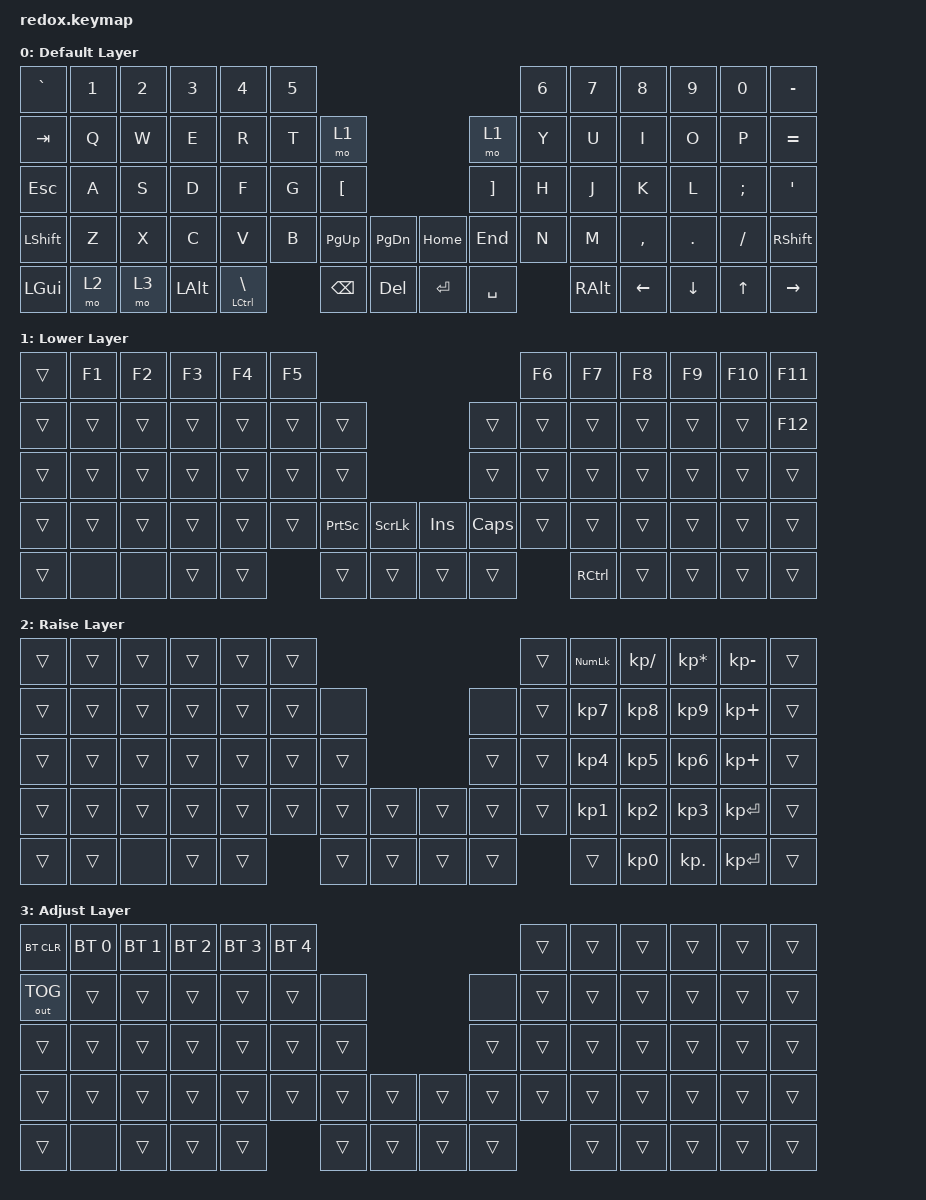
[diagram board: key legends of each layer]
/*
 * Copyright (c) 2021 The ZMK Contributors
 *
 * SPDX-License-Identifier: MIT
 */

#include <behaviors.dtsi>
#include <dt-bindings/zmk/bt.h>
#include <dt-bindings/zmk/keys.h>
#include <dt-bindings/zmk/outputs.h>

/ {
    keymap {
        compatible = "zmk,keymap";

        default_layer {
            display-name = "Default Layer";

            // --------------------------------------------------------------------------------------------------------------------------------
            // | ESC   |  1  |  2  |   3   |  4  |  5  |                   ---                |  6    |  7    |  8    |  9   | 0  |    BSPC   |
            // | TAB   |  Q  |  W  |   E   |  R  |  T  |   (   |           ---        |  )    |  Y    |  U    |  I    |  O   | P  |     -     |
            // | CTRL  |  A  |  S  |   D   |  F  |  G  |   [   |           ---        |  ]    |  H    |  J    |  K    |  L   | ;  |     '     |
            // | SHIFT |  Z  |  X  |   C   |  V  |  B  | PG_UP | PG_DOWN | --- | HOME | END   |  N    |  M    |  ,    |  .   | /  | SHFT(RET) |
            // | CRTL  | ALT | GUI | LOWER |    GUI    | LOWER | SPACE   | --- | DEL  | SPACE |     RAISE     | LEFT  | DOWN | UP |   RIGHT   |

            bindings = <
&kp GRAVE     &kp N1  &kp N2  &kp N3        &kp N4               &kp N5                                                     &kp N6  &kp N7    &kp N8     &kp N9    &kp N0    &kp MINUS
&kp TAB       &kp Q   &kp W   &kp E         &kp R                &kp T   &mo 1                                   &mo 1      &kp Y   &kp U     &kp I      &kp O     &kp P     &kp EQUAL
&kp ESCAPE    &kp A   &kp S   &kp D         &kp F                &kp G   &kp LBKT                                &kp RBKT   &kp H   &kp J     &kp K      &kp L     &kp SEMI  &kp SQT
&kp LSHFT     &kp Z   &kp X   &kp C         &kp V                &kp B   &kp PG_UP      &kp PG_DN     &kp HOME   &kp END    &kp N   &kp M     &kp COMMA  &kp DOT   &kp FSLH  &kp RSHFT
&kp LEFT_GUI  &mo 2   &mo 3   &kp LEFT_ALT  &mt LCTRL BACKSLASH          &kp BACKSPACE  &kp DELETE    &kp ENTER  &kp SPACE          &kp RALT  &kp LEFT   &kp DOWN  &kp UP    &kp RIGHT
            >;
        };

        lower_layer {
            display-name = "Lower Layer";

            // --------------------------------------------------------------------------------------------------------------------------
            // | ESC   |  1  |  2  |   3   |   4   |  5  |                   ---              |  6  |  7  |   8  |  9   |  0  |  DEL  |
            // | ESC   |  1  |  2  |   3   |   4   |  5  |   (   |           ---        |  )  |  6  |  7  |   8  |  9   |  0  |  DEL  |
            // | CTRL  |  -  |  =  |   [   |   ]   |  \  |   [   |           ---        |  ]  |  *  |  4  |   5  |  6   |  +  |   -   |
            // | SHIFT | ESC | GUI | COPY  | PASTE |     | PG_UP | PG_DOWN | --- | HOME | END |  \  |  1  |   2  |  3   | RET |  RET  |
            // | CRTL  | ALT | GUI | LOWER |     GUI     | LOWER | SPACE   | --- | DEL  |  0  |    RAISE  | LEFT | DOWN | UP  | RIGHT |

            bindings = <
&trans  &kp F1  &kp F2  &kp F3  &kp F4  &kp F5                                                               &kp F6  &kp F7     &kp F8  &kp F9  &kp F10  &kp F11
&trans  &trans  &trans  &trans  &trans  &trans  &trans                                         &trans        &trans  &trans     &trans  &trans  &trans   &kp F12
&trans  &trans  &trans  &trans  &trans  &trans  &trans                                         &trans        &trans  &trans     &trans  &trans  &trans   &trans
&trans  &trans  &trans  &trans  &trans  &trans  &kp PRINTSCREEN  &kp SCROLLLOCK    &kp INSERT  &kp CAPSLOCK  &trans  &trans     &trans  &trans  &trans   &trans
&trans  &none   &none   &trans  &trans          &trans           &trans            &trans      &trans                &kp RCTRL  &trans  &trans  &trans   &trans
            >;
        };

        raise_layer {
            display-name = "Raise Layer";

            // ----------------------------------------------------------------------------------------------------------------------------
            // | ESC   |  1  |  2  |   3   |  4  |  5  |                   ---                |  6   |  7   |  8   |  9   |  0    |  DEL  |
            // | ESC   |  !  |  @  |   #   |  $  |  %  |   (   |           ---        |  )    |  ^   |  &   |  *   |  (   |  )    |  DEL  |
            // | CTRL  |  _  |  +  |   {   |  }  | "|" |   [   |           ---        |  ]    | HOME | PGUP | PRSC | UP   |  `    |   ~   |
            // | SHIFT | ESC | GUI |   (   |  )  |     | PG_UP | PG_DOWN | --- | HOME | END   | END  | PGDN | LEFT | DOWN | RIGHT |  RET  |
            // | CRTL  | ALT | GUI | LOWER |    GUI    | LOWER | SPACE   | --- | DEL  | SPACE |    RAISE    | LEFT | DOWN | UP    | RIGHT |

            bindings = <
&trans  &trans  &trans  &trans  &trans  &trans                                    &trans  &kp KP_NUMLOCK   &kp KP_DIVIDE    &kp KP_MULTIPLY  &kp KP_SUBTRACT  &trans
&trans  &trans  &trans  &trans  &trans  &trans  &none                     &none   &trans  &kp KP_NUMBER_7  &kp KP_N8        &kp KP_NUMBER_9  &kp KP_PLUS      &trans
&trans  &trans  &trans  &trans  &trans  &trans  &trans                    &trans  &trans  &kp KP_NUMBER_4  &kp KP_N5        &kp KP_NUMBER_6  &kp KP_PLUS      &trans
&trans  &trans  &trans  &trans  &trans  &trans  &trans  &trans    &trans  &trans  &trans  &kp KP_N1        &kp KP_N2        &kp KP_NUMBER_3  &kp KP_ENTER     &trans
&trans  &trans  &none   &trans  &trans          &trans  &trans    &trans  &trans          &trans           &kp KP_NUMBER_0  &kp KP_DOT       &kp KP_ENTER     &trans
            >;
        };

        adjust_layer {
            display-name = "Adjust Layer";

            // -----------------------------------------------------------------------------------------
            // |  F1   |  F2   |    F3    |    F4     |     F5     | F6 |                   ---                | F7  | F8  |  F9  |  F10 | F11 | F12        |
            // | TAB   |       |          |           |            |    | BOOTL |           ---        |  )    | BT1 | BT2 |  BT3 |  BT4 | BT5 | OUTPUT TGL |
            // | CTRL  | MUTE  |  Vol Dn  |  Vol Up   | Play/Pause |    | RESET |           ---        |  ]    | F1  | F2  |  F3  |  F4  | F5  | F6         |
            // | SHIFT | PSCRN |  PSCRN   |   CAPS    |            |    | PG_UP | PG_DOWN | --- | HOME | END   | F7  | F8  |  F9  |  F10 | F11 | F12        |
            // | CRTL  | ALT   |  GUI     |   LOWER   |      GUI        | LOWER | SPACE   | --- | DEL  | SPACE |   RAISE   | LEFT | DOWN | UP  |   RIGHT    |

            bindings = <
&bt BT_CLR    &bt BT_SEL 0  &bt BT_SEL 1  &bt BT_SEL 2  &bt BT_SEL 3  &bt BT_SEL 4                                    &trans  &trans  &trans  &trans  &trans  &trans
&out OUT_TOG  &trans        &trans        &trans        &trans        &trans        &none                     &none   &trans  &trans  &trans  &trans  &trans  &trans
&trans        &trans        &trans        &trans        &trans        &trans        &trans                    &trans  &trans  &trans  &trans  &trans  &trans  &trans
&trans        &trans        &trans        &trans        &trans        &trans        &trans  &trans    &trans  &trans  &trans  &trans  &trans  &trans  &trans  &trans
&trans        &none         &trans        &trans        &trans                      &trans  &trans    &trans  &trans          &trans  &trans  &trans  &trans  &trans
            >;
        };
    };
};
